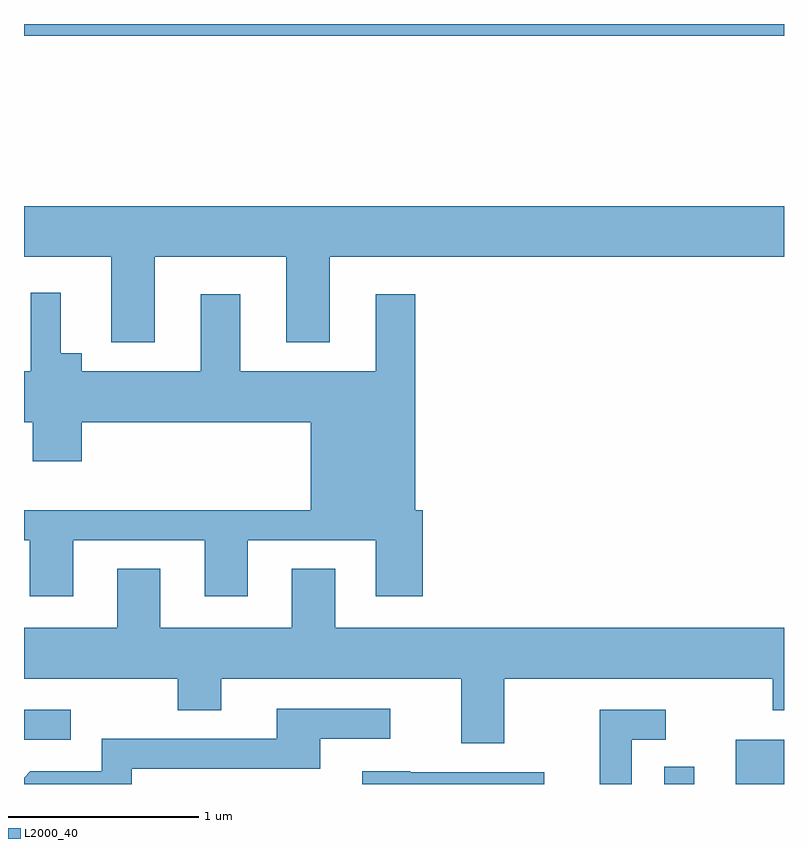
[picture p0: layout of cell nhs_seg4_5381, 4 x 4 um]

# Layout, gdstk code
import gdstk
lib = gdstk.Library(unit=1e-6, precision=1e-09)
def R(c, l, rs):  # rectangles x0, y0, x1, y1
    for r in rs: c.add(gdstk.rectangle(r[:2], r[2:], *l))
def P(c, l, *ps):  # polygons
    for p in ps: c.add(gdstk.Polygon(p, *l))
L2000_40 = (2000, 40)

nhs_seg4_5381 = lib.new_cell('nhs_seg4_5381')
R(nhs_seg4_5381, L2000_40, [(346.981,1271.982,347.139,1272.073), (347.356,1271.982,347.611,1272.214), (343.611,1272.216,343.858,1272.374), (343.611,1275.921,347.611,1275.982)])
P(nhs_seg4_5381, L2000_40, [(344.299,1274.756),(344.991,1274.756),(344.991,1274.306),(345.219,1274.306),(345.219,1274.756),(347.611,1274.756),(347.611,1275.024),(343.611,1275.024),(343.611,1274.756),(344.071,1274.756),(344.071,1274.306),(344.299,1274.306)],
  [(343.869,1273.266),(344.561,1273.266),(344.561,1272.971),(344.789,1272.971),(344.789,1273.266),(345.461,1273.266),(345.461,1272.971),(345.709,1272.971),(345.709,1273.424),(345.669,1273.424),(345.669,1274.559),(345.461,1274.559),(345.461,1274.154),(344.749,1274.154),(344.749,1274.559),(344.541,1274.559),(344.541,1274.154),(343.914,1274.154),(343.914,1274.249),(343.804,1274.249),(343.804,1274.568),(343.646,1274.568),(343.646,1274.154),(343.611,1274.154),(343.611,1273.886),(343.656,1273.886),(343.656,1273.681),(343.914,1273.681),(343.914,1273.886),(345.121,1273.886),(345.121,1273.424),(343.611,1273.424),(343.611,1273.266),(343.641,1273.266),(343.641,1272.971),(343.869,1272.971)],
  [(345.249,1273.114),(345.021,1273.114),(345.021,1272.804),(344.329,1272.804),(344.329,1273.114),(344.101,1273.114),(344.101,1272.804),(343.611,1272.804),(343.611,1272.536),(344.421,1272.536),(344.421,1272.371),(344.649,1272.371),(344.649,1272.536),(345.911,1272.536),(345.911,1272.196),(346.139,1272.196),(346.139,1272.536),(347.551,1272.536),(347.551,1272.371),(347.611,1272.371),(347.611,1272.804),(345.249,1272.804)],
  [(344.179,1272.061),(345.169,1272.061),(345.169,1272.221),(345.538,1272.221),(345.538,1272.379),(344.941,1272.379),(344.941,1272.219),(344.021,1272.219),(344.021,1272.049),(343.644,1272.049),(343.611,1272.016),(343.611,1271.982),(344.179,1271.982)],
  [(346.809,1272.216),(346.988,1272.216),(346.988,1272.374),(346.641,1272.374),(346.641,1271.982),(346.809,1271.982)],
  [(346.349,1272.044),(345.645,1272.044),(345.645,1272.049),(345.391,1272.049),(345.391,1271.982),(346.349,1271.982)])

lib.write_gds('nhs_seg4_5381.gds')
